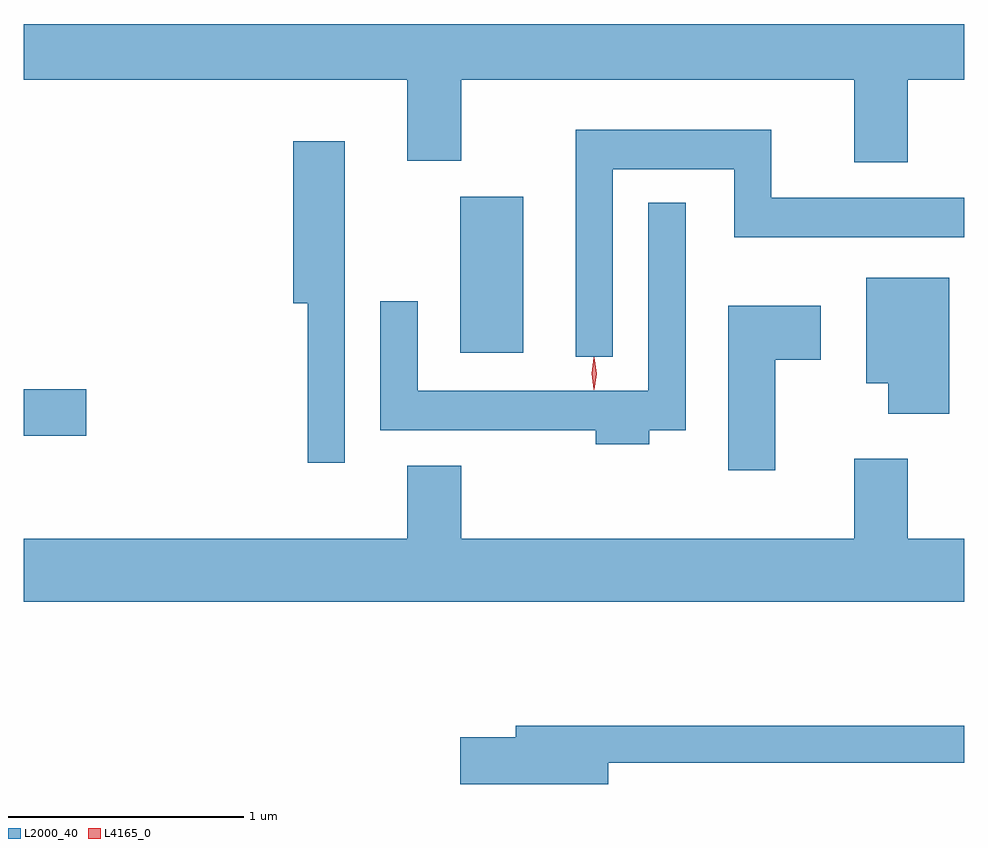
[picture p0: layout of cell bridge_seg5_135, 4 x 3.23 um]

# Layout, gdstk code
import gdstk
lib = gdstk.Library(unit=1e-6, precision=1e-09)
def R(c, l, rs):  # rectangles x0, y0, x1, y1
    for r in rs: c.add(gdstk.rectangle(r[:2], r[2:], *l))
def P(c, l, *ps):  # polygons
    for p in ps: c.add(gdstk.Polygon(p, *l))
L2000_40 = (2000, 40)
L4165_0 = (4165, 0)

bridge_seg5_135 = lib.new_cell('bridge_seg5_135')
R(bridge_seg5_135, L2000_40, [(1156.539,1415.321,1156.804,1415.519), (1158.396,1415.676,1158.664,1416.339)])
P(bridge_seg5_135, L2000_40, [(1160.299,1416.836),(1160.539,1416.836),(1160.539,1417.073),(1156.539,1417.073),(1156.539,1416.836),(1158.171,1416.836),(1158.171,1416.491),(1158.399,1416.491),(1158.399,1416.836),(1160.071,1416.836),(1160.071,1416.486),(1160.299,1416.486)],
  [(1159.044,1416.456),(1159.561,1416.456),(1159.561,1416.166),(1160.539,1416.166),(1160.539,1416.334),(1159.719,1416.334),(1159.719,1416.624),(1158.886,1416.624),(1158.886,1415.658),(1159.044,1415.658)],
  [(1157.904,1416.574),(1157.686,1416.574),(1157.686,1415.886),(1157.746,1415.886),(1157.746,1415.208),(1157.904,1415.208)],
  [(1159.199,1415.346),(1159.354,1415.346),(1159.354,1416.313),(1159.196,1416.313),(1159.196,1415.514),(1158.214,1415.514),(1158.214,1415.893),(1158.056,1415.893),(1158.056,1415.346),(1158.971,1415.346),(1158.971,1415.286),(1159.199,1415.286)],
  [(1160.474,1415.994),(1160.121,1415.994),(1160.121,1415.546),(1160.216,1415.546),(1160.216,1415.416),(1160.474,1415.416)],
  [(1159.734,1415.646),(1159.929,1415.646),(1159.929,1415.874),(1159.536,1415.874),(1159.536,1415.176),(1159.734,1415.176)],
  [(1160.539,1414.884),(1160.299,1414.884),(1160.299,1415.224),(1160.071,1415.224),(1160.071,1414.884),(1158.399,1414.884),(1158.399,1415.194),(1158.171,1415.194),(1158.171,1414.884),(1156.539,1414.884),(1156.539,1414.616),(1160.539,1414.616)],
  [(1159.024,1413.931),(1160.539,1413.931),(1160.539,1414.089),(1158.631,1414.089),(1158.631,1414.039),(1158.396,1414.039),(1158.396,1413.841),(1159.024,1413.841)])
P(bridge_seg5_135, L4165_0, [(1158.964,1415.517),(1158.955,1415.586),(1158.964,1415.656),(1158.965,1415.656),(1158.966,1415.656),(1158.975,1415.586),(1158.966,1415.517),(1158.965,1415.517)])

lib.write_gds('bridge_seg5_135.gds')
